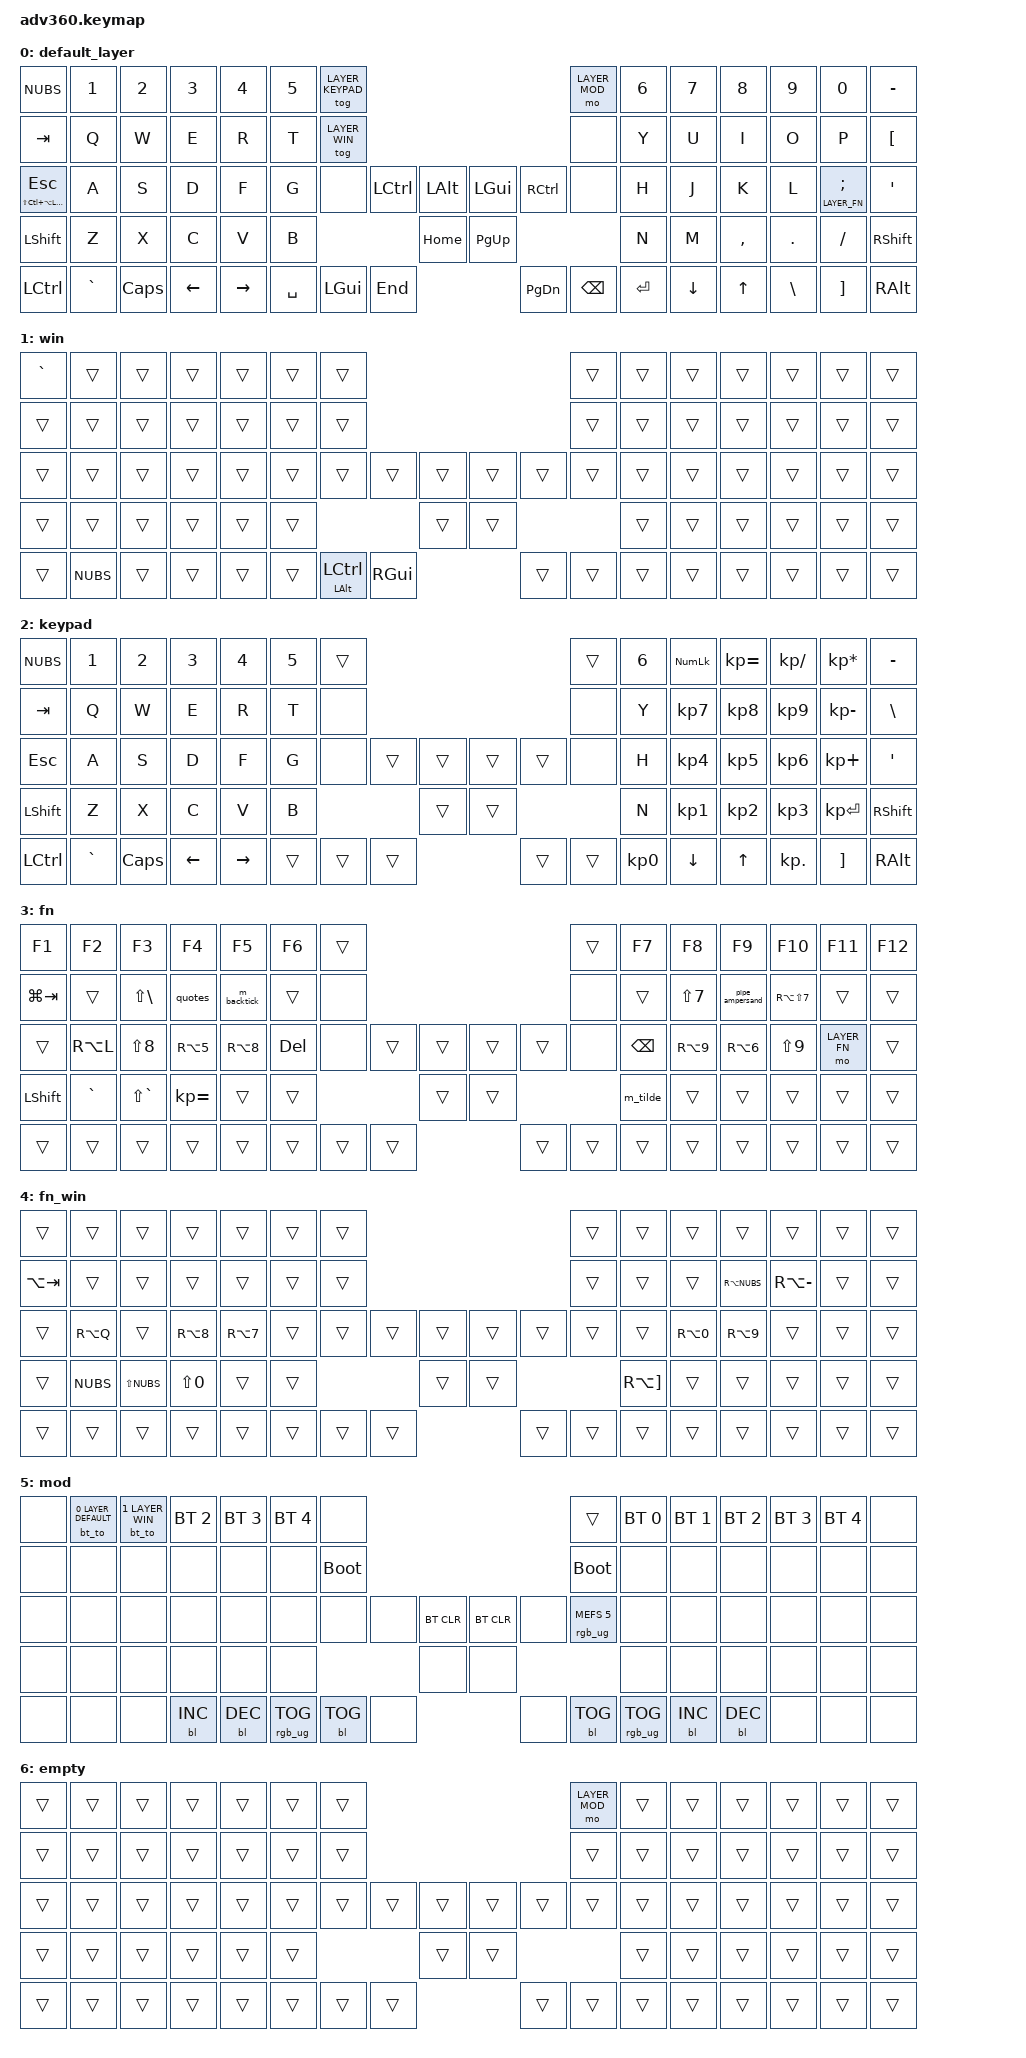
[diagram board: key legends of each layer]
#include <behaviors.dtsi>
#include <dt-bindings/zmk/keys.h>
#include <dt-bindings/zmk/bt.h>
#include <dt-bindings/zmk/rgb.h>
#include <dt-bindings/zmk/backlight.h>

#define HYP LS(LC(LA(LGUI)))
#define HYPER(key) LS(LC(LA(LG(key))))

// ()
#define LEFT_PAR LS(N8)
#define RIGHT_PAR LS(N9)
// []
#define LEFT_BRK RA(N5)
#define LEFT_BRK_WIN RA(N8)
#define RIGHT_BRK RA(N6)
#define RIGHT_BRK_WIN RA(N9)
// {}
#define LEFT_BRC RA(N8)
#define LEFT_BRC_WIN RA(N7)
#define RIGHT_BRC RA(N9)
#define RIGHT_BRC_WIN RA(N0)
// <>
#define LEFT_ANGLE GRAVE
#define LEFT_ANGLE_WIN NUBS
#define RIGHT_ANGLE LS(GRAVE)
#define RIGHT_ANGLE_WIN LS(NUBS)
// @
#define AT_SYM RA(L) 
#define AT_SYM_WIN RA(Q) 
// ~
#define TILDE_SYM RA(N)
#define TILDE_SYM_WIN RA(RBKT)
// * 
#define STAR_SYM LS(RBKT)

// /
#define FSLASH LS(N7)
// |
#define VSLASH RA(N7)
#define VSLASH_WIN RA(NUBS)
// Backslash 
#define BSLASH RA(LS(N7))
#define BSLH_WIN RA(MINUS)

// =
#define EQUAL_WIN LS(N0)

// "
#define DQUOTE LS(N2)
// '
#define SQUOTE LS(BSLH)

#define LAYER_DEFAULT 0
#define LAYER_WIN 1
#define LAYER_KEYPAD 2
#define LAYER_FN 3
#define LAYER_FN_WIN 4
#define LAYER_MOD 5

/ {
    behaviors {
      #include "macros.dtsi"

      hm: homerow_mods {
          compatible = "zmk,behavior-hold-tap";
          label = "HOMEROW_MODS";
          #binding-cells = <2>;
          tapping-term-ms = <200>;
          require-prior-idle-ms = <175>;
          flavor = "tap-preferred";
          bindings = <&kp>, <&kp>;
      };

      pipe_ampersand: pipe_ampersand {
            compatible = "zmk,behavior-mod-morph";
            label = "PIPE_AMPERSAND";
            #binding-cells = <0>;
            bindings = <&kp VSLASH>, <&kp LS(N6)>;
            mods = <(MOD_LSFT|MOD_RSFT)>;
        };

      quotes: quotes {
            compatible = "zmk,behavior-mod-morph";
            label = "DQUOTE_SQUOTE";
            #binding-cells = <0>;
            bindings = <&kp DQUOTE>, <&kp SQUOTE>;
            mods = <(MOD_LSFT|MOD_RSFT)>;
        };

      bt_to: bt_and_to {
        compatible= "zmk,behavior-macro-two-param";
        label = "bt_to";
        #binding-cells = <2>;
        bindings = <&macro_param_1to2>, <&bt BT_SEL MACRO_PLACEHOLDER>, <&macro_param_2to1>, <&to MACRO_PLACEHOLDER>;
      };
      alt_ctl: ctl_alt_for_tab {
        compatible = "zmk,behavior-hold-tap";
        label = "CTL_ALT_FOR_TAB";
        #binding-cells = <2>;
        flavor = "tap-unless-interrupted";
        tapping-term-ms = <1000>;
        quick-tap-ms = <200>;
        bindings = <&kp>, <&kp>;
        hold-trigger-key-positions = <14>;    // <---[[TAB key]]
      };
    };
  
  conditional_layers {
        compatible = "zmk,conditional-layers";
        tri_layer {
            if-layers = <LAYER_WIN LAYER_FN>;
            then-layer = <LAYER_FN_WIN>;
        };
    };

  keymap {
    compatible = "zmk,keymap";

    default_layer {
      bindings = <
        &kp NUBS    &kp N1    &kp N2   &kp N3   &kp N4     &kp N5 &tog LAYER_KEYPAD                                                 &mo LAYER_MOD &kp N6 &kp N7   &kp N8    &kp N9   &kp N0            &kp MINUS
        &kp TAB     &kp Q     &kp W    &kp E    &kp R      &kp T  &tog LAYER_WIN                                                    &none         &kp Y  &kp U    &kp I     &kp O    &kp P             &kp LBKT
        &mt HYP ESC &kp A     &kp S    &kp D    &kp F      &kp G  &none            &kp LCTRL  &kp LALT &kp LGUI  &kp RCTRL          &none         &kp H  &kp J    &kp K     &kp L    &lt LAYER_FN SEMI &kp SQT
        &kp LSHFT   &kp Z     &kp X    &kp C    &kp V      &kp B                              &kp HOME &kp PG_UP                                  &kp N  &kp M    &kp COMMA &kp DOT  &kp FSLH          &kp RSHFT
        &kp LCTRL   &kp GRAVE &kp CAPS &kp LEFT &kp RIGHT                &kp SPACE &kp LGUI   &kp END  &kp PG_DN &kp BSPC &kp ENTER                      &kp DOWN &kp UP    &kp BSLH &kp RBKT          &kp RALT
      >;
    };
    win {
      bindings = <
        &kp GRAVE &trans    &trans    &trans    &trans    &trans    &trans                                                                &trans    &trans    &trans     &trans     &trans    &trans    &trans
        &trans    &trans    &trans    &trans    &trans    &trans    &trans                                                                &trans    &trans    &trans     &trans     &trans    &trans    &trans
        &trans    &trans    &trans    &trans    &trans    &trans    &trans              &trans    &trans    &trans    &trans              &trans    &trans    &trans     &trans     &trans    &trans    &trans
        &trans    &trans    &trans    &trans    &trans    &trans                                  &trans    &trans                                  &trans    &trans     &trans     &trans    &trans    &trans
        &trans    &kp NUBS  &trans    &trans    &trans                        &trans    &alt_ctl LALT LCTL &kp RGUI    &trans    &trans   &trans                         &trans     &trans     &trans    &trans    &trans
      >;
    };
    keypad {
      bindings = <
        &kp NUBS  &kp N1    &kp N2   &kp N3   &kp N4     &kp N5 &trans                                                     &trans &kp N6 &kp KP_NUM &kp KP_EQUAL &kp KP_DIVIDE &kp KP_MULTIPLY &kp MINUS
        &kp TAB   &kp Q     &kp W    &kp E    &kp R      &kp T  &none                                                      &none  &kp Y  &kp KP_N7  &kp KP_N8    &kp KP_N9     &kp KP_MINUS    &kp BSLH
        &kp ESC   &kp A     &kp S    &kp D    &kp F      &kp G  &none           &trans &trans &trans  &trans               &none  &kp H  &kp KP_N4  &kp KP_N5    &kp KP_N6     &kp KP_PLUS     &kp SQT
        &kp LSHFT &kp Z     &kp X    &kp C    &kp V      &kp B                         &trans &trans                              &kp N  &kp KP_N1  &kp KP_N2    &kp KP_N3     &kp KP_ENTER    &kp RSHFT
        &kp LCTRL &kp GRAVE &kp CAPS &kp LEFT &kp RIGHT                &trans &trans   &trans  &trans &trans &kp KP_N0                   &kp DOWN     &kp UP     &kp KP_DOT    &kp RBKT        &kp RALT
      >;
    };
    fn {
      bindings = <
        &kp F1      &kp F2          &kp F3          &kp F4       &kp F5          &kp F6  &trans                                           &trans &kp F7        &kp F8        &kp F9          &kp F10        &kp F11        &kp F12
        &kp LG(TAB) &trans          &kp SQUOTE      &quotes      &m_backtick     &trans  &none                                            &none  &trans        &kp FSLASH    &pipe_ampersand &kp BSLASH     &trans         &trans
        &trans      &kp AT_SYM      &kp LEFT_PAR    &kp LEFT_BRK &kp LEFT_BRC    &kp DEL &none         &trans &trans &trans &trans        &none  &kp BSPC      &kp RIGHT_BRC &kp RIGHT_BRK   &kp RIGHT_PAR  &mo LAYER_FN   &trans
        &kp LSHFT   &kp LEFT_ANGLE  &kp RIGHT_ANGLE &kp KP_EQUAL &trans          &trans                       &trans &trans                      &m_tilde      &trans        &trans          &trans         &trans         &trans
        &trans      &trans          &trans          &trans       &trans                         &trans &trans &trans &trans &trans &trans                      &trans        &trans          &trans         &trans         &trans
      >;
    };
    fn_win {
      bindings = <
        &trans      &trans             &trans              &trans           &trans           &trans    &trans                                                                &trans    &trans            &trans            &trans            &trans       &trans    &trans
        &kp LA(TAB) &trans             &trans              &trans           &trans           &trans    &trans                                                                &trans    &trans            &trans            &kp VSLASH_WIN    &kp BSLH_WIN &trans    &trans
        &trans      &kp AT_SYM_WIN     &trans              &kp LEFT_BRK_WIN &kp LEFT_BRC_WIN &trans    &trans              &trans    &trans    &trans    &trans              &trans    &trans            &kp RIGHT_BRC_WIN &kp RIGHT_BRK_WIN &trans       &trans    &trans
        &trans      &kp LEFT_ANGLE_WIN &kp RIGHT_ANGLE_WIN &kp EQUAL_WIN    &trans           &trans                                  &trans    &trans                                  &kp TILDE_SYM_WIN &trans            &trans            &trans       &trans    &trans
        &trans      &trans             &trans              &trans           &trans                               &trans    &trans    &trans    &trans    &trans   &trans                                 &trans            &trans            &trans       &trans    &trans
      >;
    };
    mod {
      bindings = <
        &none &bt_to 0 LAYER_DEFAULT &bt_to 1 LAYER_WIN &bt BT_SEL 2 &bt BT_SEL 3 &bt BT_SEL 4 &none                                                                                        &trans                 &bt BT_SEL 0 &bt BT_SEL 1 &bt BT_SEL 2 &bt BT_SEL 3 &bt BT_SEL 4 &none
        &none &none               &none           &none        &none        &none        &bootloader                                                                                  &bootloader            &none        &none        &none        &none        &none        &none
        &none &none               &none           &none        &none        &none        &none                            &none      &bt BT_CLR &bt BT_CLR &none                      &rgb_ug RGB_MEFS_CMD 5 &none        &none        &none        &none        &none        &none
        &none &none               &none           &none        &none        &none                                                    &none      &none                                                        &none        &none        &none        &none        &none        &none
        &none &none               &none           &bl BL_INC   &bl BL_DEC                                 &rgb_ug RGB_TOG &bl BL_TOG &none      &none      &bl BL_TOG &rgb_ug RGB_TOG                                     &bl BL_INC   &bl BL_DEC   &none        &none        &none
      >;
    };
    empty {
      bindings = <
        &trans    &trans    &trans    &trans    &trans    &trans    &trans                                                                &mo LAYER_MOD  &trans    &trans     &trans     &trans    &trans    &trans
        &trans    &trans    &trans    &trans    &trans    &trans    &trans                                                                &trans         &trans    &trans     &trans     &trans    &trans    &trans
        &trans    &trans    &trans    &trans    &trans    &trans    &trans              &trans    &trans    &trans    &trans              &trans         &trans    &trans     &trans     &trans    &trans    &trans
        &trans    &trans    &trans    &trans    &trans    &trans                                  &trans    &trans                                       &trans    &trans     &trans     &trans    &trans    &trans
        &trans    &trans    &trans    &trans    &trans                        &trans    &trans    &trans    &trans    &trans   &trans                              &trans     &trans     &trans    &trans    &trans
      >;
    };
  };
};
